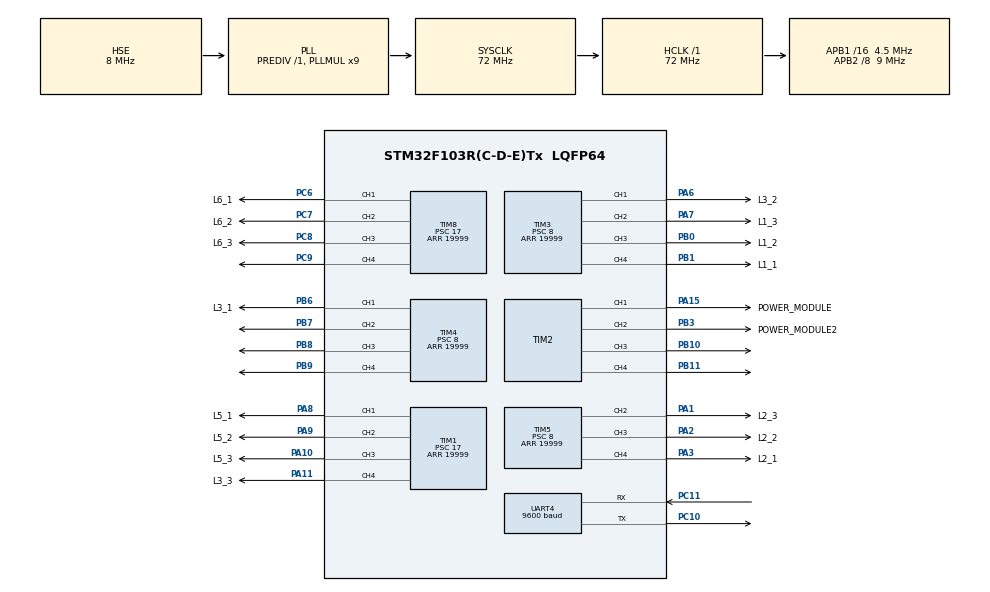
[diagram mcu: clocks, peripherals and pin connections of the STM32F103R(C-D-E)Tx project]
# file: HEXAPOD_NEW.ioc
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Mcu.Family=STM32F1
Dma.UART4_TX.1.PeriphDataAlignment=DMA_PDATAALIGN_BYTE
VP_TIM5_VS_ClockSourceINT.Mode=Internal
SH.S_TIM1_CH4.0=TIM1_CH4,PWM Generation4 CH4
PC10.Signal=UART4_TX
SH.S_TIM5_CH2.0=TIM5_CH2,PWM Generation2 CH2
PC6.GPIO_Label=L6_1
PA6.GPIO_Label=L3_2
PB0.GPIO_Label=L1_2
PB6.GPIO_Label=L3_1
TIM8.Channel-PWM\ Generation4\ CH4=TIM_CHANNEL_4
TIM2.Channel-PWM\ Generation2\ CH2=TIM_CHANNEL_2
PB11.Signal=S_TIM2_CH4
TIM3.Channel-PWM\ Generation4\ CH4=TIM_CHANNEL_4
RCC.SYSCLKSource=RCC_SYSCLKSOURCE_PLLCLK
ProjectManager.StackSize=0x400
PD1-OSC_OUT.Signal=RCC_OSC_OUT
PA15.GPIO_Label=POWER_MODULE
TIM1.Prescaler=17
TIM1.Channel-PWM\ Generation4\ CH4=TIM_CHANNEL_4
UART4.BaudRate=9600
RCC.HCLKFreq_Value=72000000
TIM8.Channel-PWM\ Generation1\ CH1=TIM_CHANNEL_1
RCC.APB2TimFreq_Value=18000000
TIM3.Period=19999
PB6.Signal=S_TIM4_CH1
PC7.Signal=S_TIM8_CH2
SH.S_TIM5_CH3.0=TIM5_CH3,PWM Generation3 CH3
RCC.AHBFreq_Value=72000000
TIM3.Channel-PWM\ Generation1\ CH1=TIM_CHANNEL_1
TIM4.Channel-PWM\ Generation3\ CH3=TIM_CHANNEL_3
Dma.UART4_TX.1.Mode=DMA_NORMAL
Dma.UART4_RX.0.MemDataAlignment=DMA_MDATAALIGN_BYTE
RCC.PLLMUL=RCC_PLL_MUL9
PC14-OSC32_IN.Mode=LSE-External-Oscillator
TIM5.Channel-PWM\ Generation4\ CH4=TIM_CHANNEL_4
TIM1.Channel-PWM\ Generation1\ CH1=TIM_CHANNEL_1
PA14.Mode=Serial_Wire
TIM3.Prescaler=8
PB1.GPIO_Label=L1_1
PA10.GPIO_Label=L5_3
SH.S_TIM4_CH2.0=TIM4_CH2,PWM Generation2 CH2
PB7.Signal=S_TIM4_CH2
PA8.Signal=S_TIM1_CH1
Dma.UART4_RX.0.PeriphDataAlignment=DMA_PDATAALIGN_BYTE
TIM2.Channel-PWM\ Generation1\ CH1=TIM_CHANNEL_1
NVIC.DMA2_Channel3_IRQn=true\:0\:0\:false\:false\:true\:false\:true
SH.S_TIM3_CH1.0=TIM3_CH1,PWM Generation1 CH1
TIM4.Period=19999
VP_TIM1_VS_ClockSourceINT.Mode=Internal
Mcu.Package=LQFP64
PB9.Signal=S_TIM4_CH4
PA6.Signal=S_TIM3_CH1
PB1.Signal=S_TIM3_CH4
TIM8.Channel-PWM\ Generation3\ CH3=TIM_CHANNEL_3
SH.S_TIM8_CH4.0=TIM8_CH4,PWM Generation4 CH4
RCC.EnbaleCSS=true
Dma.UART4_TX.1.MemInc=DMA_MINC_ENABLE
PA2.GPIO_Label=L2_2
Dma.UART4_TX.1.PeriphInc=DMA_PINC_DISABLE
PA10.Signal=S_TIM1_CH3
TIM8.Channel-PWM\ Generation2\ CH2=TIM_CHANNEL_2
PA15.Signal=S_TIM2_CH1_ETR
PC11.Mode=Asynchronous
TIM8.Prescaler=17
RCC.APB2CLKDivider=RCC_HCLK_DIV8
SH.S_TIM4_CH1.0=TIM4_CH1,PWM Generation1 CH1
Dma.Request1=UART4_TX
RCC.APB1TimFreq_Value=9000000
TIM1.Period=19999
NVIC.DMA2_Channel4_5_IRQn=true\:0\:0\:false\:false\:true\:false\:true
TIM4.Channel-PWM\ Generation4\ CH4=TIM_CHANNEL_4
Dma.Request0=UART4_RX
VP_TIM3_VS_ClockSourceINT.Mode=Internal
PA3.Signal=S_TIM5_CH4
NVIC.UART4_IRQn=true\:0\:0\:false\:false\:true\:true\:true
SH.S_TIM8_CH3.0=TIM8_CH3,PWM Generation3 CH3
PB3.GPIO_Label=POWER_MODULE2
Dma.UART4_RX.0.MemInc=DMA_MINC_ENABLE
RCC.PLLSourceVirtual=RCC_PLLSOURCE_HSE
TIM4.Channel-PWM\ Generation1\ CH1=TIM_CHANNEL_1
PC15-OSC32_OUT.Mode=LSE-External-Oscillator
TIM2.Channel-PWM\ Generation4\ CH4=TIM_CHANNEL_4
PD1-OSC_OUT.Mode=HSE-External-Oscillator
SH.S_TIM4_CH4.0=TIM4_CH4,PWM Generation4 CH4
PA9.GPIO_Label=L5_2
PC11.Signal=UART4_RX
Dma.UART4_RX.0.Mode=DMA_NORMAL
PC8.Signal=S_TIM8_CH3
PC6.Signal=S_TIM8_CH1
PC10.Mode=Asynchronous
PA11.GPIO_Label=L3_3
TIM5.Channel-PWM\ Generation3\ CH3=TIM_CHANNEL_3
PD0-OSC_IN.Signal=RCC_OSC_IN
RCC.APB1CLKDivider=RCC_HCLK_DIV16
UART4.VirtualMode=Asynchronous
PC14-OSC32_IN.Signal=RCC_OSC32_IN
SH.S_TIM3_CH3.0=TIM3_CH3,PWM Generation3 CH3
SH.S_TIM8_CH2.0=TIM8_CH2,PWM Generation2 CH2
PC8.GPIO_Label=L6_3
PA13.Signal=SYS_JTMS-SWDIO
TIM3.Channel-PWM\ Generation3\ CH3=TIM_CHANNEL_3
SH.S_TIM2_CH2.0=TIM2_CH2,PWM Generation2 CH2
PA8.GPIO_Label=L5_1
SH.S_TIM1_CH1.0=TIM1_CH1,PWM Generation1 CH1
Dma.UART4_RX.0.Direction=DMA_PERIPH_TO_MEMORY
ProjectManager.TargetToolchain=STM32CubeIDE
Dma.UART4_TX.1.Instance=DMA2_Channel5
SH.S_TIM4_CH3.0=TIM4_CH3,PWM Generation3 CH3
PA9.Signal=S_TIM1_CH2
TIM1.Channel-PWM\ Generation2\ CH2=TIM_CHANNEL_2
VP_TIM8_VS_ClockSourceINT.Mode=Internal
RCC.USBFreq_Value=72000000
Dma.UART4_RX.0.PeriphInc=DMA_PINC_DISABLE
TIM4.Prescaler=8
PC15-OSC32_OUT.Signal=RCC_OSC32_OUT
PA1.Signal=S_TIM5_CH2
PD0-OSC_IN.Mode=HSE-External-Oscillator
PB10.Signal=S_TIM2_CH3
SH.S_TIM3_CH2.0=TIM3_CH2,PWM Generation2 CH2
SH.S_TIM8_CH1.0=TIM8_CH1,PWM Generation1 CH1
board=custom
Dma.UART4_RX.0.Priority=DMA_PRIORITY_MEDIUM
TIM4.Channel-PWM\ Generation2\ CH2=TIM_CHANNEL_2
RCC.APB2Freq_Value=9000000
SH.S_TIM1_CH2.0=TIM1_CH2,PWM Generation2 CH2
VP_TIM2_VS_ClockSourceINT.Mode=Internal
SH.S_TIM2_CH3.0=TIM2_CH3,PWM Generation3 CH3
PA1.GPIO_Label=L2_3
TIM2.Channel-PWM\ Generation3\ CH3=TIM_CHANNEL_3
SH.S_TIM5_CH4.0=TIM5_CH4,PWM Generation4 CH4
PA13.Mode=Serial_Wire
Mcu.Name=STM32F103R(C-D-E)Tx
PA2.Signal=S_TIM5_CH3
TIM8.Period=19999
PC7.GPIO_Label=L6_2
PB3.Signal=S_TIM2_CH2
TIM5.Channel-PWM\ Generation2\ CH2=TIM_CHANNEL_2
RCC.SYSCLKFreq_VALUE=72000000
PA7.GPIO_Label=L1_3
TIM5.Prescaler=8
PA11.Signal=S_TIM1_CH4
SH.S_TIM2_CH1_ETR.0=TIM2_CH1,PWM Generation1 CH1
PA14.Signal=SYS_JTCK-SWCLK
ProjectManager.HeapSize=0x200
Dma.UART4_TX.1.Priority=DMA_PRIORITY_MEDIUM
SH.S_TIM2_CH4.0=TIM2_CH4,PWM Generation4 CH4
SH.S_TIM1_CH3.0=TIM1_CH3,PWM Generation3 CH3
VP_TIM4_VS_ClockSourceINT.Mode=Internal
NVIC.PriorityGroup=NVIC_PRIORITYGROUP_4
TIM3.Channel-PWM\ Generation2\ CH2=TIM_CHANNEL_2
Dma.UART4_RX.0.Instance=DMA2_Channel3
Dma.UART4_TX.1.MemDataAlignment=DMA_MDATAALIGN_BYTE
PB8.Signal=S_TIM4_CH3
TIM5.Period=19999
PC9.Signal=S_TIM8_CH4
TIM1.Channel-PWM\ Generation3\ CH3=TIM_CHANNEL_3
RCC.APB1Freq_Value=4500000
PB0.Signal=S_TIM3_CH3
PA3.GPIO_Label=L2_1
SH.S_TIM3_CH4.0=TIM3_CH4,PWM Generation4 CH4
PA7.Signal=S_TIM3_CH2
Dma.UART4_TX.1.Direction=DMA_MEMORY_TO_PERIPH

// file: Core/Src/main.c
/* USER CODE BEGIN Header */
/**
  ******************************************************************************
  * @file           : main.c
  * @brief          : Main program body
  ******************************************************************************
  * @attention
  *
  * <h2><center>&copy; Copyright (c) 2021 STMicroelectronics.
  * All rights reserved.</center></h2>
  *
  * This software component is licensed by ST under BSD 3-Clause license,
  * the "License"; You may not use this file except in compliance with the
  * License. You may obtain a copy of the License at:
  *                        opensource.org/licenses/BSD-3-Clause
  *
  ******************************************************************************
  */
/* USER CODE END Header */
#include "main.h"

/* USER CODE BEGIN PD */
#define SERVO_MAX 2120.0
#define SERVO_MIN 470.0
#define constrain(amt,low,high) ((amt)<(low)?(low):((amt)>(high)?(high):(amt)))
/* USER CODE END PD */

TIM_HandleTypeDef htim1;
TIM_HandleTypeDef htim2;
TIM_HandleTypeDef htim3;
TIM_HandleTypeDef htim4;
TIM_HandleTypeDef htim5;
TIM_HandleTypeDef htim8;

UART_HandleTypeDef huart4;
DMA_HandleTypeDef hdma_uart4_rx;
DMA_HandleTypeDef hdma_uart4_tx;

void SystemClock_Config(void);
static void MX_GPIO_Init(void);
static void MX_DMA_Init(void);
static void MX_TIM1_Init(void);
static void MX_TIM2_Init(void);
static void MX_TIM3_Init(void);
static void MX_TIM4_Init(void);
static void MX_TIM5_Init(void);
static void MX_UART4_Init(void);
static void MX_TIM8_Init(void);

/* USER CODE BEGIN 0 */
float map(float x, float in_min, float in_max, float out_min, float out_max)
{
	return (x - in_min) * (out_max - out_min) / (in_max - in_min) + out_min;
}

float servoWrite(float value){
	return map(constrain(value,0.0,180.0), 0.0,180.0,SERVO_MIN,SERVO_MAX);
}

void setServoVal(uint8_t leg,uint8_t num, float val){
	if(val <= 180.0){
		val = servoWrite(val);
	}
	switch(leg)
	{
		case 0:	switch(num)
				{
					case 0: TIM3->CCR4=val;	break;	//1_1
					case 1: TIM3->CCR3=val;	break;	//1_2
					case 2: TIM3->CCR2=val;			//1_3
				}
				break;
		case 1:	switch(num)
				{
					case 0: TIM5->CCR4=val;	break;	//2_1
					case 1: TIM5->CCR3=val;	break;	//2_2
					case 2:	TIM5->CCR2=val;			//2_3
				}
				break;
		case 2:	switch(num)
				{
					case 0: TIM4->CCR1=val;	break;	//3_1
					case 1: TIM3->CCR1=val;	break;	//3_2
					case 2: TIM1->CCR4=val;			//3_3
				}
				break;
		case 3:	switch(num)
				{
					case 0: TIM4->CCR4=val;	break;	//4_1
					case 1: TIM4->CCR3=val;	break;	//4_2
					case 2: TIM4->CCR2=val;			//4_3
				}
				break;
		case 4:	switch(num)
				{
					case 0: TIM1->CCR1=val; break;	//5_1
					case 1: TIM1->CCR2=val; break;	//5_2
					case 2: TIM1->CCR3=val; 		//5_3
				}
				break;
		case 5:	switch(num)
				{
					case 0: TIM8->CCR1=val; break;	//6_1
					case 1: TIM8->CCR2=val; break;	//6_2
					case 2: TIM8->CCR3=val; 		//6_3
				}
				break;
	}
}

void startPWM(){

	  HAL_TIM_PWM_Start(&htim3,TIM_CHANNEL_4); TIM3->CCR4=servoWrite(90);	//1_1
	  HAL_TIM_PWM_Start(&htim3,TIM_CHANNEL_3); TIM3->CCR3=servoWrite(90);	//1_2
	  HAL_TIM_PWM_Start(&htim3,TIM_CHANNEL_2); TIM3->CCR2=servoWrite(120);	//1_3

	  HAL_TIM_PWM_Start(&htim5,TIM_CHANNEL_4); TIM5->CCR4=servoWrite(90);	//2_1
	  HAL_TIM_PWM_Start(&htim5,TIM_CHANNEL_3); TIM5->CCR3=servoWrite(90);	//2_2
	  HAL_TIM_PWM_Start(&htim5,TIM_CHANNEL_2); TIM5->CCR2=servoWrite(120);	//2_3

	  HAL_TIM_PWM_Start(&htim4,TIM_CHANNEL_1); TIM4->CCR1=servoWrite(90);	//3_1
	  HAL_TIM_PWM_Start(&htim3,TIM_CHANNEL_1); TIM3->CCR1=servoWrite(90);	//3_2
	  HAL_TIM_PWM_Start(&htim1,TIM_CHANNEL_4); TIM1->CCR4=servoWrite(120);	//3_3

	  HAL_TIM_PWM_Start(&htim4,TIM_CHANNEL_4); TIM4->CCR4=servoWrite(90);	//4_1
	  HAL_TIM_PWM_Start(&htim4,TIM_CHANNEL_3); TIM4->CCR3=servoWrite(120);	//4_2
	  HAL_TIM_PWM_Start(&htim4,TIM_CHANNEL_2); TIM4->CCR2=servoWrite(120);	//4_3

	  HAL_TIM_PWM_Start(&htim1,TIM_CHANNEL_1); TIM1->CCR1=servoWrite(90); 	//5_1
	  HAL_TIM_PWM_Start(&htim1,TIM_CHANNEL_2); TIM1->CCR2=servoWrite(120); 	//5_2
	  HAL_TIM_PWM_Start(&htim1,TIM_CHANNEL_3); TIM1->CCR3=servoWrite(120); 	//5_3

	  HAL_TIM_PWM_Start(&htim8,TIM_CHANNEL_1); TIM8->CCR1=servoWrite(90); 	//6_1
	  HAL_TIM_PWM_Start(&htim8,TIM_CHANNEL_2); TIM8->CCR2=servoWrite(120); 	//6_2
	  HAL_TIM_PWM_Start(&htim8,TIM_CHANNEL_3); TIM8->CCR3=servoWrite(120); 	//6_3

	  HAL_TIM_PWM_Start(&htim2,TIM_CHANNEL_1); TIM2->CCR1=55535;
	  HAL_TIM_PWM_Start(&htim2,TIM_CHANNEL_2); TIM2->CCR2=55535;

	  HAL_TIM_PWM_Start(&htim8,TIM_CHANNEL_4); TIM8->CCR4=0; // not use
	  HAL_TIM_PWM_Start(&htim5,TIM_CHANNEL_1); TIM5->CCR1=0; // not use
}

void motion1(){
		  for(float j = 900.0; j< 1700.0; j+=0.01)
		  {
			  for(uint8_t i = 0; i<6;i++){
				  if(i < 3){
					  setServoVal(i,1, 2900.0 - (j+90));
					  setServoVal(i,2, 2900.0 - (j-100));

				  }else{
					  setServoVal(i,1, j+90);
					  setServoVal(i,2, j-100);
				  }
			  }
		  }
		  HAL_Delay(1000);
		  for(float j = 1700.0; j> 900.0; j-=0.01)
		  {
			  for(uint8_t i = 0; i<6;i++){
				  if(i < 3){
					  setServoVal(i,1, 2900.0 - (j+90));
					  setServoVal(i,2, 2900.0 - (j-100));

				  }else{
					  setServoVal(i,1, j+90);
					  setServoVal(i,2, j-100);
				  }
			  }
		  }
		  HAL_Delay(1000);
}
void motion2(){
	for(int i = 0; i < 18; i++){
		for(float j = 90.0; j>70.0; j-=0.001)
		{
		  for(int i = 0; i<3; i++)
		  setServoVal(i,i, j);
		}
		HAL_Delay(1000);
		for(float j = 70.0; j<110.0; j+=0.001)
		{
		  for(int i = 0; i<3; i++)
		  setServoVal(i,i, j);
		}
		HAL_Delay(1000);
		for(float j = 70.0; j<110.0; j+=0.001)
		{
		  for(int i = 0; i<3; i++)
		  setServoVal(i,i, 180 - j);
		}
		HAL_Delay(1000);
		for(float j = 70.0; j<90.0; j+=0.001)
		{
		  for(int i = 0; i<3; i++)
		  setServoVal(i,i, j);
		}
	}
	HAL_Delay(1000);
}
uint8_t rx_uart_buf[5];
uint8_t values[4];
/* USER CODE END 0 */

int main(void)
{

  /* MCU Configuration--------------------------------------------------------*/

  /* Reset of all peripherals, Initializes the Flash interface and the Systick. */
  HAL_Init();

  /* Configure the system clock */
  SystemClock_Config();

  /* Initialize all configured peripherals */
  MX_GPIO_Init();
  MX_DMA_Init();
  MX_TIM1_Init();
  MX_TIM2_Init();
  MX_TIM3_Init();
  MX_TIM4_Init();
  MX_TIM5_Init();
  MX_UART4_Init();
  MX_TIM8_Init();
  /* USER CODE BEGIN 2 */
  startPWM();
  SystemCoreClockUpdate();
  SysTick_Config(SystemCoreClock/1000);
  /* USER CODE END 2 */

  /* Infinite loop */
  /* USER CODE BEGIN WHILE */

  while (1)
  {
	  if(hdma_uart4_rx.State == HAL_DMA_STATE_READY){
	  		  HAL_UART_Receive_DMA(&huart4, rx_uart_buf, 5);
	  		  for(int i = 0; i < 4; i++) values[i] = rx_uart_buf[i+1] - 127;
	  		for(int i = 0; i< 3; i++) setServoVal(values[0]-1, i, values[i+1]);
	  		  HAL_UART_Transmit_DMA(&huart4, rx_uart_buf, 5);
	  		  hdma_uart4_rx.State = HAL_DMA_STATE_BUSY;
	  }

    /* USER CODE END WHILE */

  }
}

void SystemClock_Config(void)
{
  RCC_OscInitTypeDef RCC_OscInitStruct = {0};
  RCC_ClkInitTypeDef RCC_ClkInitStruct = {0};

  /** Initializes the RCC Oscillators according to the specified parameters
  * in the RCC_OscInitTypeDef structure.
  */
  RCC_OscInitStruct.OscillatorType = RCC_OSCILLATORTYPE_HSE;
  RCC_OscInitStruct.HSEState = RCC_HSE_ON;
  RCC_OscInitStruct.HSEPredivValue = RCC_HSE_PREDIV_DIV1;
  RCC_OscInitStruct.HSIState = RCC_HSI_ON;
  RCC_OscInitStruct.PLL.PLLState = RCC_PLL_ON;
  RCC_OscInitStruct.PLL.PLLSource = RCC_PLLSOURCE_HSE;
  RCC_OscInitStruct.PLL.PLLMUL = RCC_PLL_MUL9;
  if (HAL_RCC_OscConfig(&RCC_OscInitStruct) != HAL_OK)
  {
    Error_Handler();
  }
  /** Initializes the CPU, AHB and APB buses clocks
  */
  RCC_ClkInitStruct.ClockType = RCC_CLOCKTYPE_HCLK|RCC_CLOCKTYPE_SYSCLK
                              |RCC_CLOCKTYPE_PCLK1|RCC_CLOCKTYPE_PCLK2;
  RCC_ClkInitStruct.SYSCLKSource = RCC_SYSCLKSOURCE_PLLCLK;
  RCC_ClkInitStruct.AHBCLKDivider = RCC_SYSCLK_DIV1;
  RCC_ClkInitStruct.APB1CLKDivider = RCC_HCLK_DIV16;
  RCC_ClkInitStruct.APB2CLKDivider = RCC_HCLK_DIV8;

  if (HAL_RCC_ClockConfig(&RCC_ClkInitStruct, FLASH_LATENCY_2) != HAL_OK)
  {
    Error_Handler();
  }
  /** Enables the Clock Security System
  */
  HAL_RCC_EnableCSS();
}

static void MX_TIM1_Init(void)
{

  TIM_ClockConfigTypeDef sClockSourceConfig = {0};
  TIM_MasterConfigTypeDef sMasterConfig = {0};
  TIM_OC_InitTypeDef sConfigOC = {0};
  TIM_BreakDeadTimeConfigTypeDef sBreakDeadTimeConfig = {0};

  htim1.Instance = TIM1;
  htim1.Init.Prescaler = 17;
  htim1.Init.CounterMode = TIM_COUNTERMODE_UP;
  htim1.Init.Period = 19999;
  htim1.Init.ClockDivision = TIM_CLOCKDIVISION_DIV1;
  htim1.Init.RepetitionCounter = 0;
  htim1.Init.AutoReloadPreload = TIM_AUTORELOAD_PRELOAD_DISABLE;
  if (HAL_TIM_Base_Init(&htim1) != HAL_OK)
  {
    Error_Handler();
  }
  sClockSourceConfig.ClockSource = TIM_CLOCKSOURCE_INTERNAL;
  if (HAL_TIM_ConfigClockSource(&htim1, &sClockSourceConfig) != HAL_OK)
  {
    Error_Handler();
  }
  if (HAL_TIM_PWM_Init(&htim1) != HAL_OK)
  {
    Error_Handler();
  }
  sMasterConfig.MasterOutputTrigger = TIM_TRGO_RESET;
  sMasterConfig.MasterSlaveMode = TIM_MASTERSLAVEMODE_DISABLE;
  if (HAL_TIMEx_MasterConfigSynchronization(&htim1, &sMasterConfig) != HAL_OK)
  {
    Error_Handler();
  }
  sConfigOC.OCMode = TIM_OCMODE_PWM1;
  sConfigOC.Pulse = 0;
  sConfigOC.OCPolarity = TIM_OCPOLARITY_HIGH;
  sConfigOC.OCNPolarity = TIM_OCNPOLARITY_HIGH;
  sConfigOC.OCFastMode = TIM_OCFAST_DISABLE;
  sConfigOC.OCIdleState = TIM_OCIDLESTATE_RESET;
  sConfigOC.OCNIdleState = TIM_OCNIDLESTATE_RESET;
  if (HAL_TIM_PWM_ConfigChannel(&htim1, &sConfigOC, TIM_CHANNEL_1) != HAL_OK)
  {
    Error_Handler();
  }
  if (HAL_TIM_PWM_ConfigChannel(&htim1, &sConfigOC, TIM_CHANNEL_2) != HAL_OK)
  {
    Error_Handler();
  }
  if (HAL_TIM_PWM_ConfigChannel(&htim1, &sConfigOC, TIM_CHANNEL_3) != HAL_OK)
  {
    Error_Handler();
  }
  if (HAL_TIM_PWM_ConfigChannel(&htim1, &sConfigOC, TIM_CHANNEL_4) != HAL_OK)
  {
    Error_Handler();
  }
  sBreakDeadTimeConfig.OffStateRunMode = TIM_OSSR_DISABLE;
  sBreakDeadTimeConfig.OffStateIDLEMode = TIM_OSSI_DISABLE;
  sBreakDeadTimeConfig.LockLevel = TIM_LOCKLEVEL_OFF;
  sBreakDeadTimeConfig.DeadTime = 0;
  sBreakDeadTimeConfig.BreakState = TIM_BREAK_DISABLE;
  sBreakDeadTimeConfig.BreakPolarity = TIM_BREAKPOLARITY_HIGH;
  sBreakDeadTimeConfig.AutomaticOutput = TIM_AUTOMATICOUTPUT_DISABLE;
  if (HAL_TIMEx_ConfigBreakDeadTime(&htim1, &sBreakDeadTimeConfig) != HAL_OK)
  {
    Error_Handler();
  }
  HAL_TIM_MspPostInit(&htim1);

}

static void MX_TIM2_Init(void)
{

  TIM_ClockConfigTypeDef sClockSourceConfig = {0};
  TIM_MasterConfigTypeDef sMasterConfig = {0};
  TIM_OC_InitTypeDef sConfigOC = {0};

  htim2.Instance = TIM2;
  htim2.Init.Prescaler = 0;
  htim2.Init.CounterMode = TIM_COUNTERMODE_UP;
  htim2.Init.Period = 65535;
  htim2.Init.ClockDivision = TIM_CLOCKDIVISION_DIV1;
  htim2.Init.AutoReloadPreload = TIM_AUTORELOAD_PRELOAD_DISABLE;
  if (HAL_TIM_Base_Init(&htim2) != HAL_OK)
  {
    Error_Handler();
  }
  sClockSourceConfig.ClockSource = TIM_CLOCKSOURCE_INTERNAL;
  if (HAL_TIM_ConfigClockSource(&htim2, &sClockSourceConfig) != HAL_OK)
  {
    Error_Handler();
  }
  if (HAL_TIM_PWM_Init(&htim2) != HAL_OK)
  {
    Error_Handler();
  }
  sMasterConfig.MasterOutputTrigger = TIM_TRGO_RESET;
  sMasterConfig.MasterSlaveMode = TIM_MASTERSLAVEMODE_DISABLE;
  if (HAL_TIMEx_MasterConfigSynchronization(&htim2, &sMasterConfig) != HAL_OK)
  {
    Error_Handler();
  }
  sConfigOC.OCMode = TIM_OCMODE_PWM1;
  sConfigOC.Pulse = 0;
  sConfigOC.OCPolarity = TIM_OCPOLARITY_HIGH;
  sConfigOC.OCFastMode = TIM_OCFAST_DISABLE;
  if (HAL_TIM_PWM_ConfigChannel(&htim2, &sConfigOC, TIM_CHANNEL_1) != HAL_OK)
  {
    Error_Handler();
  }
  if (HAL_TIM_PWM_ConfigChannel(&htim2, &sConfigOC, TIM_CHANNEL_2) != HAL_OK)
  {
    Error_Handler();
  }
  if (HAL_TIM_PWM_ConfigChannel(&htim2, &sConfigOC, TIM_CHANNEL_3) != HAL_OK)
  {
    Error_Handler();
  }
  if (HAL_TIM_PWM_ConfigChannel(&htim2, &sConfigOC, TIM_CHANNEL_4) != HAL_OK)
  {
    Error_Handler();
  }
  HAL_TIM_MspPostInit(&htim2);

}

static void MX_TIM3_Init(void)
{

  TIM_ClockConfigTypeDef sClockSourceConfig = {0};
  TIM_MasterConfigTypeDef sMasterConfig = {0};
  TIM_OC_InitTypeDef sConfigOC = {0};

  htim3.Instance = TIM3;
  htim3.Init.Prescaler = 8;
  htim3.Init.CounterMode = TIM_COUNTERMODE_UP;
  htim3.Init.Period = 19999;
  htim3.Init.ClockDivision = TIM_CLOCKDIVISION_DIV1;
  htim3.Init.AutoReloadPreload = TIM_AUTORELOAD_PRELOAD_DISABLE;
  if (HAL_TIM_Base_Init(&htim3) != HAL_OK)
  {
    Error_Handler();
  }
  sClockSourceConfig.ClockSource = TIM_CLOCKSOURCE_INTERNAL;
  if (HAL_TIM_ConfigClockSource(&htim3, &sClockSourceConfig) != HAL_OK)
  {
    Error_Handler();
  }
  if (HAL_TIM_PWM_Init(&htim3) != HAL_OK)
  {
    Error_Handler();
  }
  sMasterConfig.MasterOutputTrigger = TIM_TRGO_RESET;
  sMasterConfig.MasterSlaveMode = TIM_MASTERSLAVEMODE_DISABLE;
  if (HAL_TIMEx_MasterConfigSynchronization(&htim3, &sMasterConfig) != HAL_OK)
  {
    Error_Handler();
  }
  sConfigOC.OCMode = TIM_OCMODE_PWM1;
  sConfigOC.Pulse = 0;
  sConfigOC.OCPolarity = TIM_OCPOLARITY_HIGH;
  sConfigOC.OCFastMode = TIM_OCFAST_DISABLE;
  if (HAL_TIM_PWM_ConfigChannel(&htim3, &sConfigOC, TIM_CHANNEL_1) != HAL_OK)
  {
    Error_Handler();
  }
  if (HAL_TIM_PWM_ConfigChannel(&htim3, &sConfigOC, TIM_CHANNEL_2) != HAL_OK)
  {
    Error_Handler();
  }
  if (HAL_TIM_PWM_ConfigChannel(&htim3, &sConfigOC, TIM_CHANNEL_3) != HAL_OK)
  {
    Error_Handler();
  }
  if (HAL_TIM_PWM_ConfigChannel(&htim3, &sConfigOC, TIM_CHANNEL_4) != HAL_OK)
  {
    Error_Handler();
  }
  HAL_TIM_MspPostInit(&htim3);

}

static void MX_TIM4_Init(void)
{

  TIM_ClockConfigTypeDef sClockSourceConfig = {0};
  TIM_MasterConfigTypeDef sMasterConfig = {0};
  TIM_OC_InitTypeDef sConfigOC = {0};

  htim4.Instance = TIM4;
  htim4.Init.Prescaler = 8;
  htim4.Init.CounterMode = TIM_COUNTERMODE_UP;
  htim4.Init.Period = 19999;
  htim4.Init.ClockDivision = TIM_CLOCKDIVISION_DIV1;
  htim4.Init.AutoReloadPreload = TIM_AUTORELOAD_PRELOAD_DISABLE;
  if (HAL_TIM_Base_Init(&htim4) != HAL_OK)
  {
    Error_Handler();
  }
  sClockSourceConfig.ClockSource = TIM_CLOCKSOURCE_INTERNAL;
  if (HAL_TIM_ConfigClockSource(&htim4, &sClockSourceConfig) != HAL_OK)
  {
    Error_Handler();
  }
  if (HAL_TIM_PWM_Init(&htim4) != HAL_OK)
  {
    Error_Handler();
  }
  sMasterConfig.MasterOutputTrigger = TIM_TRGO_RESET;
  sMasterConfig.MasterSlaveMode = TIM_MASTERSLAVEMODE_DISABLE;
  if (HAL_TIMEx_MasterConfigSynchronization(&htim4, &sMasterConfig) != HAL_OK)
  {
    Error_Handler();
  }
  sConfigOC.OCMode = TIM_OCMODE_PWM1;
  sConfigOC.Pulse = 0;
  sConfigOC.OCPolarity = TIM_OCPOLARITY_HIGH;
  sConfigOC.OCFastMode = TIM_OCFAST_DISABLE;
  if (HAL_TIM_PWM_ConfigChannel(&htim4, &sConfigOC, TIM_CHANNEL_1) != HAL_OK)
  {
    Error_Handler();
  }
  if (HAL_TIM_PWM_ConfigChannel(&htim4, &sConfigOC, TIM_CHANNEL_2) != HAL_OK)
  {
    Error_Handler();
  }
  if (HAL_TIM_PWM_ConfigChannel(&htim4, &sConfigOC, TIM_CHANNEL_3) != HAL_OK)
  {
    Error_Handler();
  }
  if (HAL_TIM_PWM_ConfigChannel(&htim4, &sConfigOC, TIM_CHANNEL_4) != HAL_OK)
  {
    Error_Handler();
  }
  HAL_TIM_MspPostInit(&htim4);

}

static void MX_TIM5_Init(void)
{

  TIM_ClockConfigTypeDef sClockSourceConfig = {0};
  TIM_MasterConfigTypeDef sMasterConfig = {0};
  TIM_OC_InitTypeDef sConfigOC = {0};

  htim5.Instance = TIM5;
  htim5.Init.Prescaler = 8;
  htim5.Init.CounterMode = TIM_COUNTERMODE_UP;
  htim5.Init.Period = 19999;
  htim5.Init.ClockDivision = TIM_CLOCKDIVISION_DIV1;
  htim5.Init.AutoReloadPreload = TIM_AUTORELOAD_PRELOAD_DISABLE;
  if (HAL_TIM_Base_Init(&htim5) != HAL_OK)
  {
    Error_Handler();
  }
  sClockSourceConfig.ClockSource = TIM_CLOCKSOURCE_INTERNAL;
  if (HAL_TIM_ConfigClockSource(&htim5, &sClockSourceConfig) != HAL_OK)
  {
    Error_Handler();
  }
  if (HAL_TIM_PWM_Init(&htim5) != HAL_OK)
  {
    Error_Handler();
  }
  sMasterConfig.MasterOutputTrigger = TIM_TRGO_RESET;
  sMasterConfig.MasterSlaveMode = TIM_MASTERSLAVEMODE_DISABLE;
  if (HAL_TIMEx_MasterConfigSynchronization(&htim5, &sMasterConfig) != HAL_OK)
  {
    Error_Handler();
  }
  sConfigOC.OCMode = TIM_OCMODE_PWM1;
  sConfigOC.Pulse = 0;
  sConfigOC.OCPolarity = TIM_OCPOLARITY_HIGH;
  sConfigOC.OCFastMode = TIM_OCFAST_DISABLE;
  if (HAL_TIM_PWM_ConfigChannel(&htim5, &sConfigOC, TIM_CHANNEL_2) != HAL_OK)
  {
    Error_Handler();
  }
  if (HAL_TIM_PWM_ConfigChannel(&htim5, &sConfigOC, TIM_CHANNEL_3) != HAL_OK)
  {
    Error_Handler();
  }
  if (HAL_TIM_PWM_ConfigChannel(&htim5, &sConfigOC, TIM_CHANNEL_4) != HAL_OK)
  {
    Error_Handler();
  }
  HAL_TIM_MspPostInit(&htim5);

}

static void MX_TIM8_Init(void)
{

  TIM_ClockConfigTypeDef sClockSourceConfig = {0};
  TIM_MasterConfigTypeDef sMasterConfig = {0};
  TIM_OC_InitTypeDef sConfigOC = {0};
  TIM_BreakDeadTimeConfigTypeDef sBreakDeadTimeConfig = {0};

  htim8.Instance = TIM8;
  htim8.Init.Prescaler = 17;
  htim8.Init.CounterMode = TIM_COUNTERMODE_UP;
  htim8.Init.Period = 19999;
  htim8.Init.ClockDivision = TIM_CLOCKDIVISION_DIV1;
  htim8.Init.RepetitionCounter = 0;
  htim8.Init.AutoReloadPreload = TIM_AUTORELOAD_PRELOAD_DISABLE;
  if (HAL_TIM_Base_Init(&htim8) != HAL_OK)
  {
    Error_Handler();
  }
  sClockSourceConfig.ClockSource = TIM_CLOCKSOURCE_INTERNAL;
  if (HAL_TIM_ConfigClockSource(&htim8, &sClockSourceConfig) != HAL_OK)
  {
    Error_Handler();
  }
  if (HAL_TIM_PWM_Init(&htim8) != HAL_OK)
  {
    Error_Handler();
  }
  sMasterConfig.MasterOutputTrigger = TIM_TRGO_RESET;
  sMasterConfig.MasterSlaveMode = TIM_MASTERSLAVEMODE_DISABLE;
  if (HAL_TIMEx_MasterConfigSynchronization(&htim8, &sMasterConfig) != HAL_OK)
  {
    Error_Handler();
  }
  sConfigOC.OCMode = TIM_OCMODE_PWM1;
  sConfigOC.Pulse = 0;
  sConfigOC.OCPolarity = TIM_OCPOLARITY_HIGH;
  sConfigOC.OCNPolarity = TIM_OCNPOLARITY_HIGH;
  sConfigOC.OCFastMode = TIM_OCFAST_DISABLE;
  sConfigOC.OCIdleState = TIM_OCIDLESTATE_RESET;
  sConfigOC.OCNIdleState = TIM_OCNIDLESTATE_RESET;
  if (HAL_TIM_PWM_ConfigChannel(&htim8, &sConfigOC, TIM_CHANNEL_1) != HAL_OK)
  {
    Error_Handler();
  }
  if (HAL_TIM_PWM_ConfigChannel(&htim8, &sConfigOC, TIM_CHANNEL_2) != HAL_OK)
  {
    Error_Handler();
  }
  if (HAL_TIM_PWM_ConfigChannel(&htim8, &sConfigOC, TIM_CHANNEL_3) != HAL_OK)
  {
    Error_Handler();
  }
  if (HAL_TIM_PWM_ConfigChannel(&htim8, &sConfigOC, TIM_CHANNEL_4) != HAL_OK)
  {
    Error_Handler();
  }
  sBreakDeadTimeConfig.OffStateRunMode = TIM_OSSR_DISABLE;
  sBreakDeadTimeConfig.OffStateIDLEMode = TIM_OSSI_DISABLE;
  sBreakDeadTimeConfig.LockLevel = TIM_LOCKLEVEL_OFF;
  sBreakDeadTimeConfig.DeadTime = 0;
  sBreakDeadTimeConfig.BreakState = TIM_BREAK_DISABLE;
  sBreakDeadTimeConfig.BreakPolarity = TIM_BREAKPOLARITY_HIGH;
  sBreakDeadTimeConfig.AutomaticOutput = TIM_AUTOMATICOUTPUT_DISABLE;
  if (HAL_TIMEx_ConfigBreakDeadTime(&htim8, &sBreakDeadTimeConfig) != HAL_OK)
  {
    Error_Handler();
  }
  HAL_TIM_MspPostInit(&htim8);

}

static void MX_UART4_Init(void)
{

  huart4.Instance = UART4;
  huart4.Init.BaudRate = 9600;
  huart4.Init.WordLength = UART_WORDLENGTH_8B;
  huart4.Init.StopBits = UART_STOPBITS_1;
  huart4.Init.Parity = UART_PARITY_NONE;
  huart4.Init.Mode = UART_MODE_TX_RX;
  huart4.Init.HwFlowCtl = UART_HWCONTROL_NONE;
  huart4.Init.OverSampling = UART_OVERSAMPLING_16;
  if (HAL_UART_Init(&huart4) != HAL_OK)
  {
    Error_Handler();
  }

}

static void MX_DMA_Init(void)
{

  /* DMA controller clock enable */
  __HAL_RCC_DMA2_CLK_ENABLE();

  /* DMA interrupt init */
  /* DMA2_Channel3_IRQn interrupt configuration */
  HAL_NVIC_SetPriority(DMA2_Channel3_IRQn, 0, 0);
  HAL_NVIC_EnableIRQ(DMA2_Channel3_IRQn);
  /* DMA2_Channel4_5_IRQn interrupt configuration */
  HAL_NVIC_SetPriority(DMA2_Channel4_5_IRQn, 0, 0);
  HAL_NVIC_EnableIRQ(DMA2_Channel4_5_IRQn);

}

static void MX_GPIO_Init(void)
{
  GPIO_InitTypeDef GPIO_InitStruct = {0};

  /* GPIO Ports Clock Enable */
  __HAL_RCC_GPIOC_CLK_ENABLE();
  __HAL_RCC_GPIOD_CLK_ENABLE();
  __HAL_RCC_GPIOA_CLK_ENABLE();
  __HAL_RCC_GPIOB_CLK_ENABLE();

  /*Configure GPIO pins : PC13 PC0 PC1 PC2
                           PC3 PC4 PC5 PC12 */
  GPIO_InitStruct.Pin = GPIO_PIN_13|GPIO_PIN_0|GPIO_PIN_1|GPIO_PIN_2
                          |GPIO_PIN_3|GPIO_PIN_4|GPIO_PIN_5|GPIO_PIN_12;
  GPIO_InitStruct.Mode = GPIO_MODE_ANALOG;
  HAL_GPIO_Init(GPIOC, &GPIO_InitStruct);

  /*Configure GPIO pins : PA0 PA4 PA5 PA12 */
  GPIO_InitStruct.Pin = GPIO_PIN_0|GPIO_PIN_4|GPIO_PIN_5|GPIO_PIN_12;
  GPIO_InitStruct.Mode = GPIO_MODE_ANALOG;
  HAL_GPIO_Init(GPIOA, &GPIO_InitStruct);

  /*Configure GPIO pins : PB2 PB12 PB13 PB14
                           PB15 PB4 PB5 */
  GPIO_InitStruct.Pin = GPIO_PIN_2|GPIO_PIN_12|GPIO_PIN_13|GPIO_PIN_14
                          |GPIO_PIN_15|GPIO_PIN_4|GPIO_PIN_5;
  GPIO_InitStruct.Mode = GPIO_MODE_ANALOG;
  HAL_GPIO_Init(GPIOB, &GPIO_InitStruct);

  /*Configure GPIO pin : PD2 */
  GPIO_InitStruct.Pin = GPIO_PIN_2;
  GPIO_InitStruct.Mode = GPIO_MODE_ANALOG;
  HAL_GPIO_Init(GPIOD, &GPIO_InitStruct);

}

void Error_Handler(void)
{
  __disable_irq();
  while (1)
  {
  }
}

/************************ (C) COPYRIGHT STMicroelectronics *****END OF FILE****/
